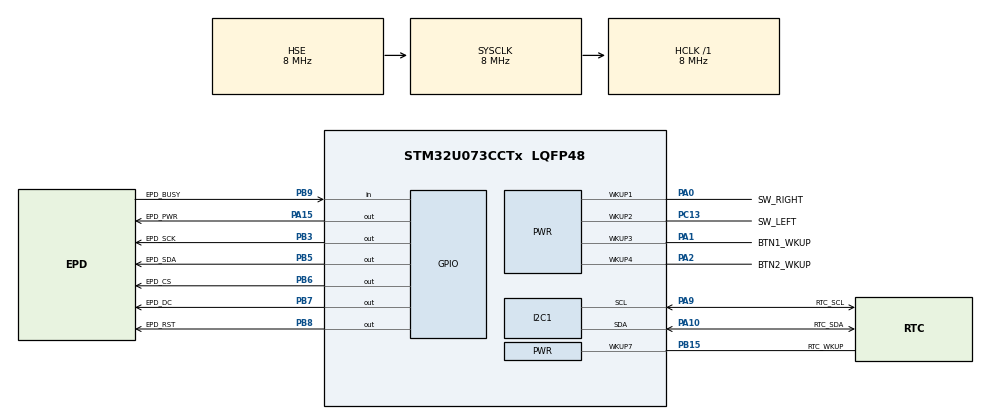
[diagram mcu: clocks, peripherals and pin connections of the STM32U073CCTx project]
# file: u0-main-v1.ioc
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I2C1.Timing=0x2000090E
Mcu.Family=STM32U0
Mcu.Name=STM32U073CCTx
Mcu.Package=LQFP48
NVIC.PriorityGroup=NVIC_PRIORITYGROUP_2
PA0.GPIO_Label=SW_RIGHT
PA0.Mode=WakeUp1
PA0.Signal=PWR_WKUP1
PA1.GPIO_Label=BTN1_WKUP
PA1.Mode=WakeUp3
PA1.Signal=PWR_WKUP3
PA10.GPIO_Label=RTC_SDA
PA10.Mode=I2C
PA10.Signal=I2C1_SDA
PA13\ (SWDIO).GPIO_Label=SWDIO
PA13\ (SWDIO).Mode=Serial_Wire
PA13\ (SWDIO).Signal=DEBUG_JTMS-SWDIO
PA14\ (SWCLK).GPIO_Label=SWCLK
PA14\ (SWCLK).Mode=Serial_Wire
PA14\ (SWCLK).Signal=DEBUG_JTCK-SWCLK
PA15.GPIO_Label=EPD_PWR
PA15.Signal=GPIO_Output
PA2.GPIO_Label=BTN2_WKUP
PA2.Mode=WakeUp4
PA2.Signal=PWR_WKUP4
PA9.GPIO_Label=RTC_SCL
PA9.Mode=I2C
PA9.Signal=I2C1_SCL
PB15.GPIO_Label=RTC_WKUP
PB15.Mode=WakeUp7
PB15.Signal=PWR_WKUP7
PB3.GPIO_Label=EPD_SCK
PB3.GPIO_Speed=GPIO_SPEED_FREQ_HIGH
PB3.Signal=GPIO_Output
PB5.GPIO_Label=EPD_SDA
PB5.GPIO_Speed=GPIO_SPEED_FREQ_HIGH
PB5.Signal=GPIO_Output
PB6.GPIO_Label=EPD_CS
PB6.Signal=GPIO_Output
PB7.GPIO_Label=EPD_DC
PB7.Signal=GPIO_Output
PB8.GPIO_Label=EPD_RST
PB8.Signal=GPIO_Output
PB9.GPIO_Label=EPD_BUSY
PB9.Signal=GPIO_Input
PC13.GPIO_Label=SW_LEFT
PC13.Mode=WakeUp2
PC13.Signal=PWR_WKUP2
PF0-OSC_IN.Mode=HSE-External-Oscillator
PF0-OSC_IN.Signal=RCC_OSC_IN
PF1-OSC_OUT.Mode=HSE-External-Oscillator
PF1-OSC_OUT.Signal=RCC_OSC_OUT
ProjectManager.HeapSize=0x200
ProjectManager.StackSize=0x400
ProjectManager.TargetToolchain=STM32CubeIDE
RCC.ADCFreq_Value=8000000
RCC.AHBFreq_Value=8000000
RCC.CortexFreq_Value=8000000
RCC.HCLKFreq_Value=8000000
RCC.HSE_VALUE=8000000
RCC.HSI48_VALUE=48000000
RCC.HSI_VALUE=16000000
RCC.LSE_VALUE=32768
RCC.MSI_VALUE=4000000
RCC.PWR_Regulator_Voltage_Scale=PWR_REGULATOR_VOLTAGE_SCALE2
RCC.SYSCLKFreq_VALUE=8000000
RCC.SYSCLKSource=RCC_SYSCLKSOURCE_HSE
RCC.VCOOutputFreq_Value=64000000
VP_PWR_VS_SECSignals.Mode=Security/Privilege
board=custom

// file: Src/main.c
/* USER CODE BEGIN Header */
/**
  ******************************************************************************
  * @file           : main.c
  * @brief          : Main program body
  ******************************************************************************
  * @attention
  *
  * Copyright (c) 2026 STMicroelectronics.
  * All rights reserved.
  *
  * This software is licensed under terms that can be found in the LICENSE file
  * in the root directory of this software component.
  * If no LICENSE file comes with this software, it is provided AS-IS.
  *
  ******************************************************************************
  */
/* USER CODE END Header */
#include "main.h"

/* USER CODE BEGIN Includes */
#include "RV3028.h"
/* USER CODE END Includes */

I2C_HandleTypeDef hi2c1;

void SystemClock_Config(void);
static void MX_GPIO_Init(void);
static void MX_I2C1_Init(void);

int main(void)
{

  /* MCU Configuration--------------------------------------------------------*/

  /* Reset of all peripherals, Initializes the Flash interface and the Systick. */
  HAL_Init();

  /* Configure the system clock */
  SystemClock_Config();

  /* Initialize all configured peripherals */
  MX_GPIO_Init();
  MX_I2C1_Init();
  /* USER CODE BEGIN 2 */
  //HAL_Delay(3000);
  //uint8_t status[3];
  //RTC_read_register_value(&hi2c1, 0x0E, status, 3);
  HAL_StatusTypeDef status = RTC_init(&hi2c1);
  if(status == HAL_OK){
	  //set time to 20 seconds before interrupt
	  uint8_t time[] = {0b01000000,0x00,0x00,0x00,0b00000001,0b00000001,0x00};
	  status = RTC_set_register_value(&hi2c1, 0x00, time, 7);
	  if(status == HAL_OK){
		  //DO NOT REMOVE. Delay so I can reprogram MCU
		  HAL_Delay(5000);

		  RTC_handle_interrupt(&hi2c1);
		  uint8_t buffer[1];
		  status = RTC_read_register_value(&hi2c1, 0x0E,  buffer, 1);
		  if(buffer[0] <= 1){
			  //clear all the wakeup flags in PWR_SR1
			  __HAL_PWR_CLEAR_FLAG(PWR_FLAG_WU);
			  HAL_PWR_EnterSHUTDOWNMode();
		  }
	  }
  }

  /* USER CODE END 2 */

  /* Infinite loop */
  /* USER CODE BEGIN WHILE */
  while (1)
  {
	  //RTC_handle_interrupt(&hi2c1);
	  HAL_Delay(1000);
    /* USER CODE END WHILE */

  }
}

void SystemClock_Config(void)
{
  RCC_OscInitTypeDef RCC_OscInitStruct = {0};
  RCC_ClkInitTypeDef RCC_ClkInitStruct = {0};

  /** Configure the main internal regulator output voltage
  */
  HAL_PWREx_ControlVoltageScaling(PWR_REGULATOR_VOLTAGE_SCALE2);

  /** Initializes the RCC Oscillators according to the specified parameters
  * in the RCC_OscInitTypeDef structure.
  */
  RCC_OscInitStruct.OscillatorType = RCC_OSCILLATORTYPE_HSE;
  RCC_OscInitStruct.HSEState = RCC_HSE_ON;
  RCC_OscInitStruct.PLL.PLLState = RCC_PLL_NONE;
  if (HAL_RCC_OscConfig(&RCC_OscInitStruct) != HAL_OK)
  {
    Error_Handler();
  }

  /** Initializes the CPU, AHB and APB buses clocks
  */
  RCC_ClkInitStruct.ClockType = RCC_CLOCKTYPE_HCLK|RCC_CLOCKTYPE_SYSCLK
                              |RCC_CLOCKTYPE_PCLK1;
  RCC_ClkInitStruct.SYSCLKSource = RCC_SYSCLKSOURCE_HSE;
  RCC_ClkInitStruct.AHBCLKDivider = RCC_SYSCLK_DIV1;
  RCC_ClkInitStruct.APB1CLKDivider = RCC_HCLK_DIV1;

  if (HAL_RCC_ClockConfig(&RCC_ClkInitStruct, FLASH_LATENCY_0) != HAL_OK)
  {
    Error_Handler();
  }
}

static void MX_I2C1_Init(void)
{

  hi2c1.Instance = I2C1;
  hi2c1.Init.Timing = 0x2000090E;
  hi2c1.Init.OwnAddress1 = 0;
  hi2c1.Init.AddressingMode = I2C_ADDRESSINGMODE_7BIT;
  hi2c1.Init.DualAddressMode = I2C_DUALADDRESS_DISABLE;
  hi2c1.Init.OwnAddress2 = 0;
  hi2c1.Init.OwnAddress2Masks = I2C_OA2_NOMASK;
  hi2c1.Init.GeneralCallMode = I2C_GENERALCALL_DISABLE;
  hi2c1.Init.NoStretchMode = I2C_NOSTRETCH_DISABLE;
  if (HAL_I2C_Init(&hi2c1) != HAL_OK)
  {
    Error_Handler();
  }

  /** Configure Analogue filter
  */
  if (HAL_I2CEx_ConfigAnalogFilter(&hi2c1, I2C_ANALOGFILTER_ENABLE) != HAL_OK)
  {
    Error_Handler();
  }

  /** Configure Digital filter
  */
  if (HAL_I2CEx_ConfigDigitalFilter(&hi2c1, 0) != HAL_OK)
  {
    Error_Handler();
  }

}

static void MX_GPIO_Init(void)
{
  GPIO_InitTypeDef GPIO_InitStruct = {0};

  /* GPIO Ports Clock Enable */
  __HAL_RCC_GPIOC_CLK_ENABLE();
  __HAL_RCC_GPIOF_CLK_ENABLE();
  __HAL_RCC_GPIOA_CLK_ENABLE();
  __HAL_RCC_GPIOB_CLK_ENABLE();

  /*Configure GPIO pin Output Level */
  HAL_GPIO_WritePin(EPD_PWR_GPIO_Port, EPD_PWR_Pin, GPIO_PIN_RESET);

  /*Configure GPIO pin Output Level */
  HAL_GPIO_WritePin(GPIOB, EPD_SCK_Pin|EPD_SDA_Pin|EPD_CS_Pin|EPD_DC_Pin
                          |EPD_RST_Pin, GPIO_PIN_RESET);

  /*Configure GPIO pins : PC14 PC15 */
  GPIO_InitStruct.Pin = GPIO_PIN_14|GPIO_PIN_15;
  GPIO_InitStruct.Mode = GPIO_MODE_ANALOG;
  GPIO_InitStruct.Pull = GPIO_NOPULL;
  HAL_GPIO_Init(GPIOC, &GPIO_InitStruct);

  /*Configure GPIO pins : PF2 PF3 */
  GPIO_InitStruct.Pin = GPIO_PIN_2|GPIO_PIN_3;
  GPIO_InitStruct.Mode = GPIO_MODE_ANALOG;
  GPIO_InitStruct.Pull = GPIO_NOPULL;
  HAL_GPIO_Init(GPIOF, &GPIO_InitStruct);

  /*Configure GPIO pins : PA3 PA4 PA5 PA6
                           PA7 PA8 PA11 PA12 */
  GPIO_InitStruct.Pin = GPIO_PIN_3|GPIO_PIN_4|GPIO_PIN_5|GPIO_PIN_6
                          |GPIO_PIN_7|GPIO_PIN_8|GPIO_PIN_11|GPIO_PIN_12;
  GPIO_InitStruct.Mode = GPIO_MODE_ANALOG;
  GPIO_InitStruct.Pull = GPIO_NOPULL;
  HAL_GPIO_Init(GPIOA, &GPIO_InitStruct);

  /*Configure GPIO pins : PB0 PB1 PB2 PB10
                           PB11 PB12 PB13 PB14
                           PB4 */
  GPIO_InitStruct.Pin = GPIO_PIN_0|GPIO_PIN_1|GPIO_PIN_2|GPIO_PIN_10
                          |GPIO_PIN_11|GPIO_PIN_12|GPIO_PIN_13|GPIO_PIN_14
                          |GPIO_PIN_4;
  GPIO_InitStruct.Mode = GPIO_MODE_ANALOG;
  GPIO_InitStruct.Pull = GPIO_NOPULL;
  HAL_GPIO_Init(GPIOB, &GPIO_InitStruct);

  /*Configure GPIO pin : EPD_PWR_Pin */
  GPIO_InitStruct.Pin = EPD_PWR_Pin;
  GPIO_InitStruct.Mode = GPIO_MODE_OUTPUT_PP;
  GPIO_InitStruct.Pull = GPIO_NOPULL;
  GPIO_InitStruct.Speed = GPIO_SPEED_FREQ_LOW;
  HAL_GPIO_Init(EPD_PWR_GPIO_Port, &GPIO_InitStruct);

  /*Configure GPIO pins : EPD_SCK_Pin EPD_SDA_Pin */
  GPIO_InitStruct.Pin = EPD_SCK_Pin|EPD_SDA_Pin;
  GPIO_InitStruct.Mode = GPIO_MODE_OUTPUT_PP;
  GPIO_InitStruct.Pull = GPIO_NOPULL;
  GPIO_InitStruct.Speed = GPIO_SPEED_FREQ_HIGH;
  HAL_GPIO_Init(GPIOB, &GPIO_InitStruct);

  /*Configure GPIO pins : EPD_CS_Pin EPD_DC_Pin EPD_RST_Pin */
  GPIO_InitStruct.Pin = EPD_CS_Pin|EPD_DC_Pin|EPD_RST_Pin;
  GPIO_InitStruct.Mode = GPIO_MODE_OUTPUT_PP;
  GPIO_InitStruct.Pull = GPIO_NOPULL;
  GPIO_InitStruct.Speed = GPIO_SPEED_FREQ_LOW;
  HAL_GPIO_Init(GPIOB, &GPIO_InitStruct);

  /*Configure GPIO pin : EPD_BUSY_Pin */
  GPIO_InitStruct.Pin = EPD_BUSY_Pin;
  GPIO_InitStruct.Mode = GPIO_MODE_INPUT;
  GPIO_InitStruct.Pull = GPIO_NOPULL;
  HAL_GPIO_Init(EPD_BUSY_GPIO_Port, &GPIO_InitStruct);

}

/* USER CODE BEGIN 4 */
void HAL_GPIO_EXTI_Falling_Callback(uint16_t GPIO_Pin){
	if(GPIO_Pin == RTC_WKUP_Pin){
		//RTC_handle_interrupt(&hi2c1);
	}else{
		__NOP();
	}
}
/* USER CODE END 4 */

void Error_Handler(void)
{
  __disable_irq();
  while (1)
  {
  }
}
